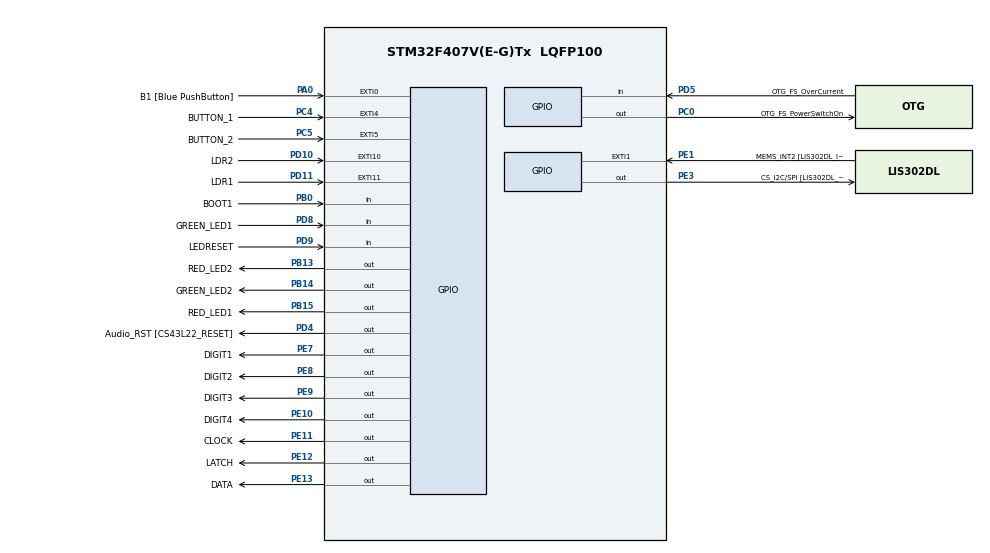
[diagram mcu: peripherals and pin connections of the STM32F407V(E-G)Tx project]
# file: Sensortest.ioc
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Mcu.Family=STM32F4
Mcu.Name=STM32F407V(E-G)Tx
Mcu.Package=LQFP100
NVIC.EXTI0_IRQn=true\:0\:0\:false\:false\:true\:true\:true\:true
NVIC.EXTI15_10_IRQn=true\:0\:0\:false\:false\:true\:true\:true\:true
NVIC.EXTI4_IRQn=true\:0\:0\:false\:false\:true\:true\:true\:true
NVIC.EXTI9_5_IRQn=true\:0\:0\:false\:false\:true\:true\:true\:true
NVIC.PriorityGroup=NVIC_PRIORITYGROUP_0
NVIC.TIM1_CC_IRQn=true\:0\:0\:false\:false\:true\:true\:true\:true
NVIC.TIM1_UP_TIM10_IRQn=true\:0\:0\:false\:false\:true\:true\:true\:true
NVIC.TIM2_IRQn=true\:0\:0\:false\:false\:true\:true\:true\:true
PA0-WKUP.GPIO_Label=B1 [Blue PushButton]
PA0-WKUP.GPIO_ModeDefaultEXTI=GPIO_MODE_IT_RISING
PA0-WKUP.GPIO_PuPd=GPIO_NOPULL
PA0-WKUP.Signal=GPXTI0
PA10.GPIO_Label=OTG_FS_ID
PA10.GPIO_Mode=GPIO_MODE_AF_PP
PA10.GPIO_PuPd=GPIO_NOPULL
PA10.GPIO_Speed=GPIO_SPEED_FREQ_LOW
PA10.Signal=USB_OTG_FS_ID
PA11.GPIO_Label=OTG_FS_DM
PA11.GPIO_Mode=GPIO_MODE_AF_PP
PA11.GPIO_PuPd=GPIO_NOPULL
PA11.GPIO_Speed=GPIO_SPEED_FREQ_LOW
PA11.Signal=USB_OTG_FS_DM
PA12.GPIO_Label=OTG_FS_DP
PA12.GPIO_Mode=GPIO_MODE_AF_PP
PA12.GPIO_PuPd=GPIO_NOPULL
PA12.GPIO_Speed=GPIO_SPEED_FREQ_LOW
PA12.Signal=USB_OTG_FS_DP
PA13.GPIO_Label=SWDIO
PA13.Mode=Serial_Wire
PA13.Signal=SYS_JTMS-SWDIO
PA14.GPIO_Label=SWCLK
PA14.Mode=Serial_Wire
PA14.Signal=SYS_JTCK-SWCLK
PA4.GPIO_Label=I2S3_WS [CS43L22_LRCK]
PA4.GPIO_Mode=GPIO_MODE_AF_PP
PA4.GPIO_PuPd=GPIO_NOPULL
PA4.GPIO_Speed=GPIO_SPEED_FREQ_LOW
PA4.Signal=I2S3_WS
PA5.GPIO_Label=SPI1_SCK [LIS302DL_SCL/SPC]
PA5.GPIO_Mode=GPIO_MODE_AF_PP
PA5.GPIO_PuPd=GPIO_NOPULL
PA5.GPIO_Speed=GPIO_SPEED_FREQ_LOW
PA5.Signal=SPI1_SCK
PA6.GPIO_Label=SPI1_MISO [LIS302DL_SDO]
PA6.GPIO_Mode=GPIO_MODE_AF_PP
PA6.GPIO_PuPd=GPIO_NOPULL
PA6.GPIO_Speed=GPIO_SPEED_FREQ_LOW
PA6.Signal=SPI1_MISO
PA7.GPIO_Label=SPI1_MOSI [LIS302DL_SDA/SDI/SDO]
PA7.GPIO_Mode=GPIO_MODE_AF_PP
PA7.GPIO_PuPd=GPIO_NOPULL
PA7.GPIO_Speed=GPIO_SPEED_FREQ_LOW
PA7.Signal=SPI1_MOSI
PA9.GPIO_Label=VBUS_FS
PA9.GPIO_Mode=GPIO_MODE_INPUT
PA9.GPIO_PuPd=GPIO_NOPULL
PA9.Signal=USB_OTG_FS_VBUS
PB0.GPIO_Label=BOOT1
PB0.Signal=GPIO_Input
PB10.GPIO_Label=CLK_IN [MP45DT02_CLK]
PB10.GPIO_Mode=GPIO_MODE_AF_PP
PB10.GPIO_PuPd=GPIO_NOPULL
PB10.GPIO_Speed=GPIO_SPEED_FREQ_LOW
PB10.Signal=I2S2_CK
PB13.GPIO_Label=RED_LED2
PB13.Signal=GPIO_Output
PB14.GPIO_Label=GREEN_LED2
PB14.Signal=GPIO_Output
PB15.GPIO_Label=RED_LED1
PB15.Signal=GPIO_Output
PB3.GPIO_Label=SWO
PB3.Signal=SYS_JTDO-SWO
PB6.GPIO_Label=Audio_SCL [CS43L22_SCL]
PB6.GPIO_Mode=GPIO_MODE_AF_OD
PB6.GPIO_Pu=GPIO_PULLUP
PB6.GPIO_PuPd=GPIO_NOPULL
PB6.GPIO_Speed=GPIO_SPEED_FREQ_LOW
PB6.Signal=I2C1_SCL
PB9.GPIO_Label=Audio_SDA [CS43L22_SDA]
PB9.GPIO_Mode=GPIO_MODE_AF_OD
PB9.GPIO_Pu=GPIO_PULLUP
PB9.GPIO_PuPd=GPIO_NOPULL
PB9.GPIO_Speed=GPIO_SPEED_FREQ_LOW
PB9.Signal=I2C1_SDA
PC0.GPIO_Label=OTG_FS_PowerSwitchOn
PC0.GPIO_PuPd=GPIO_NOPULL
PC0.GPIO_Speed=GPIO_SPEED_FREQ_LOW
PC0.PinState=GPIO_PIN_SET
PC0.Signal=GPIO_Output
PC10.GPIO_Label=I2S3_SCK [CS43L22_SCLK]
PC10.GPIO_Mode=GPIO_MODE_AF_PP
PC10.GPIO_PuPd=GPIO_NOPULL
PC10.GPIO_Speed=GPIO_SPEED_FREQ_LOW
PC10.Signal=I2S3_CK
PC12.GPIO_Label=I2S3_SD [CS43L22_SDIN]
PC12.GPIO_Mode=GPIO_MODE_AF_PP
PC12.GPIO_PuPd=GPIO_NOPULL
PC12.GPIO_Speed=GPIO_SPEED_FREQ_LOW
PC12.Signal=I2S3_SD
PC14-OSC32_IN.GPIO_Label=PC14-OSC32_IN
PC14-OSC32_IN.Mode=LSE-External-Oscillator
PC14-OSC32_IN.Signal=RCC_OSC32_IN
PC15-OSC32_OUT.GPIO_Label=PC15-OSC32_OUT
PC15-OSC32_OUT.Mode=LSE-External-Oscillator
PC15-OSC32_OUT.Signal=RCC_OSC32_OUT
PC3.GPIO_Label=PDM_OUT [MP45DT02_DOUT]
PC3.GPIO_Mode=GPIO_MODE_AF_PP
PC3.GPIO_PuPd=GPIO_NOPULL
PC3.GPIO_Speed=GPIO_SPEED_FREQ_LOW
PC3.Signal=I2S2_SD
PC4.GPIO_Label=BUTTON_1
PC4.Signal=GPXTI4
PC5.GPIO_Label=BUTTON_2
PC5.Signal=GPXTI5
PC7.GPIO_Label=I2S3_MCK [CS43L22_MCLK]
PC7.GPIO_Mode=GPIO_MODE_AF_PP
PC7.GPIO_PuPd=GPIO_NOPULL
PC7.GPIO_Speed=GPIO_SPEED_FREQ_LOW
PC7.Signal=I2S3_MCK
PD10.GPIO_Label=LDR2
PD10.Signal=GPXTI10
PD11.GPIO_Label=LDR1
PD11.Signal=GPXTI11
PD4.GPIO_Label=Audio_RST [CS43L22_RESET]
PD4.GPIO_PuPd=GPIO_NOPULL
PD4.GPIO_Speed=GPIO_SPEED_FREQ_LOW
PD4.Signal=GPIO_Output
PD5.GPIO_Label=OTG_FS_OverCurrent
PD5.GPIO_Mode=GPIO_MODE_INPUT
PD5.GPIO_PuPd=GPIO_NOPULL
PD5.Signal=GPIO_Input
PD8.GPIO_Label=GREEN_LED1
PD8.Signal=GPIO_Input
PD9.GPIO_Label=LEDRESET
PD9.Signal=GPIO_Input
PE1.GPIO_Label=MEMS_INT2 [LIS302DL_INT2]
PE1.GPIO_ModeDefaultEXTI=GPIO_MODE_EVT_RISING
PE1.GPIO_PuPd=GPIO_NOPULL
PE1.Signal=GPXTI1
PE10.GPIO_Label=DIGIT4
PE10.Signal=GPIO_Output
PE11.GPIO_Label=CLOCK
PE11.Signal=GPIO_Output
PE12.GPIO_Label=LATCH
PE12.Signal=GPIO_Output
PE13.GPIO_Label=DATA
PE13.Signal=GPIO_Output
PE3.GPIO_Label=CS_I2C/SPI [LIS302DL_CS_I2C/SPI]
PE3.GPIO_PuPd=GPIO_NOPULL
PE3.GPIO_Speed=GPIO_SPEED_FREQ_LOW
PE3.Signal=GPIO_Output
PE7.GPIO_Label=DIGIT1
PE7.Signal=GPIO_Output
PE8.GPIO_Label=DIGIT2
PE8.Signal=GPIO_Output
PE9.GPIO_Label=DIGIT3
PE9.Signal=GPIO_Output
PH0-OSC_IN.GPIO_Label=PH0-OSC_IN
PH0-OSC_IN.Mode=HSE-External-Oscillator
PH0-OSC_IN.Signal=RCC_OSC_IN
PH1-OSC_OUT.GPIO_Label=PH1-OSC_OUT
PH1-OSC_OUT.Mode=HSE-External-Oscillator
PH1-OSC_OUT.Signal=RCC_OSC_OUT
ProjectManager.HeapSize=0x200
ProjectManager.StackSize=0x400
ProjectManager.TargetToolchain=STM32CubeIDE
RCC.48MHZClocksFreq_Value=48000000
RCC.AHBFreq_Value=168000000
RCC.APB1CLKDivider=RCC_HCLK_DIV4
RCC.APB1Freq_Value=42000000
RCC.APB1TimFreq_Value=84000000
RCC.APB2CLKDivider=RCC_HCLK_DIV2
RCC.APB2Freq_Value=84000000
RCC.APB2TimFreq_Value=168000000
RCC.CortexFreq_Value=168000000
RCC.HCLKFreq_Value=168000000
RCC.HSE_VALUE=8000000
RCC.HSI_VALUE=16000000
RCC.PLLM=8
RCC.PLLN=336
RCC.PLLQ=7
RCC.PLLSourceVirtual=RCC_PLLSOURCE_HSE
RCC.SYSCLKFreq_VALUE=168000000
RCC.SYSCLKSource=RCC_SYSCLKSOURCE_PLLCLK
RCC.VCOOutputFreq_Value=336000000
TIM2.Period=20000
TIM2.Prescaler=4200
VP_TIM1_VS_ClockSourceINT.Mode=Internal
VP_TIM2_VS_ClockSourceINT.Mode=Internal
board=STM32F407G-DISC1

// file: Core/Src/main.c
/* USER CODE BEGIN Header */
/**
 ******************************************************************************
 * @file           : main.c
 * @brief          : Main program body
 ******************************************************************************
 * @attention
 *
 * Copyright (c) 2023 STMicroelectronics.
 * All rights reserved.
 *
 * This software is licensed under terms that can be found in the LICENSE file
 * in the root directory of this software component.
 * If no LICENSE file comes with this software, it is provided AS-IS.
 *
 ******************************************************************************
 */
/* USER CODE END Header */
#include "main.h"

/* USER CODE BEGIN Includes */
#include "stm32f4xx_hal.h"
/* USER CODE END Includes */

TIM_HandleTypeDef htim1;
TIM_HandleTypeDef htim2;

/* USER CODE BEGIN PV */
uint8_t gTable[] = { 0x3F, 0x06, 0x5B, 0x4F, 0x66, 0x6D, 0x7D, 0x07, 0x7F, 0x6F,
		0x77, 0x7C, 0x39, 0x5E, 0x79, 0x71, 0x00 };

volatile uint8_t gstartTime = 0;
volatile uint8_t Time = 0;
uint32_t gSpeed = 0;

volatile uint8_t gLDR1_ISR_Flag = 0;
volatile uint8_t gLDR2_ISR_Flag = 0;

uint8_t startFlag = 0;
double gDist = 1.5;

volatile uint8_t gbutton1_ISR_Flag = 0;
volatile uint8_t gbutton2_ISR_Flag = 0;

volatile uint8_t gCurrentDigit = 1;

uint16_t gReloadTimer1 = 62500;
uint8_t gReloadTimer2 = 10;

/* USER CODE END PV */

void SystemClock_Config(void);
static void MX_GPIO_Init(void);
static void MX_TIM2_Init(void);
static void MX_TIM1_Init(void);

/* USER CODE BEGIN 0 */
void startCheck(void);
void display(uint8_t num, uint8_t dp);
void dispOff(void);
void shiftOut(uint8_t dataPin, uint8_t clockPin, uint8_t bitOrder,
		uint8_t value);
/* USER CODE END 0 */

int main(void) {

	/* MCU Configuration--------------------------------------------------------*/

	/* Reset of all peripherals, Initializes the Flash interface and the Systick. */
	HAL_Init();

	/* Configure the system clock */
	SystemClock_Config();

	/* Initialize all configured peripherals */
	MX_GPIO_Init();
	MX_TIM2_Init();
	MX_TIM1_Init();
	/* USER CODE BEGIN 2 */
	HAL_TIM_Base_Start_IT(&htim1);
	HAL_TIM_Base_Start_IT(&htim2);
	/* USER CODE END 2 */

	/* Infinite loop */
	/* USER CODE BEGIN WHILE */
	while (1) {
		startCheck();
		if (gbutton1_ISR_Flag == 1) {
			gbutton1_ISR_Flag = 0;
		}

		if (gbutton2_ISR_Flag == 1) {
			gbutton2_ISR_Flag = 0;
		}

		if (gLDR2_ISR_Flag == 1) {
			gLDR2_ISR_Flag = 0;
		}
	}

	//	      if (startFlag == 0)
	//	      {
	//	        startCheck();
	//	      }
}

/* USER CODE END WHILE */

void SystemClock_Config(void) {
RCC_OscInitTypeDef RCC_OscInitStruct = { 0 };
RCC_ClkInitTypeDef RCC_ClkInitStruct = { 0 };

/** Configure the main internal regulator output voltage
 */
__HAL_RCC_PWR_CLK_ENABLE();
__HAL_PWR_VOLTAGESCALING_CONFIG(PWR_REGULATOR_VOLTAGE_SCALE1);

/** Initializes the RCC Oscillators according to the specified parameters
 * in the RCC_OscInitTypeDef structure.
 */
RCC_OscInitStruct.OscillatorType = RCC_OSCILLATORTYPE_HSE;
RCC_OscInitStruct.HSEState = RCC_HSE_ON;
RCC_OscInitStruct.PLL.PLLState = RCC_PLL_ON;
RCC_OscInitStruct.PLL.PLLSource = RCC_PLLSOURCE_HSE;
RCC_OscInitStruct.PLL.PLLM = 8;
RCC_OscInitStruct.PLL.PLLN = 336;
RCC_OscInitStruct.PLL.PLLP = RCC_PLLP_DIV2;
RCC_OscInitStruct.PLL.PLLQ = 7;
if (HAL_RCC_OscConfig(&RCC_OscInitStruct) != HAL_OK) {
	Error_Handler();
}

/** Initializes the CPU, AHB and APB buses clocks
 */
RCC_ClkInitStruct.ClockType = RCC_CLOCKTYPE_HCLK | RCC_CLOCKTYPE_SYSCLK
		| RCC_CLOCKTYPE_PCLK1 | RCC_CLOCKTYPE_PCLK2;
RCC_ClkInitStruct.SYSCLKSource = RCC_SYSCLKSOURCE_PLLCLK;
RCC_ClkInitStruct.AHBCLKDivider = RCC_SYSCLK_DIV1;
RCC_ClkInitStruct.APB1CLKDivider = RCC_HCLK_DIV4;
RCC_ClkInitStruct.APB2CLKDivider = RCC_HCLK_DIV2;

if (HAL_RCC_ClockConfig(&RCC_ClkInitStruct, FLASH_LATENCY_5) != HAL_OK) {
	Error_Handler();
}
}

static void MX_TIM1_Init(void) {

TIM_ClockConfigTypeDef sClockSourceConfig = { 0 };
TIM_MasterConfigTypeDef sMasterConfig = { 0 };

htim1.Instance = TIM1;
htim1.Init.Prescaler = 0;
htim1.Init.CounterMode = TIM_COUNTERMODE_UP;
htim1.Init.Period = 65535;
htim1.Init.ClockDivision = TIM_CLOCKDIVISION_DIV1;
htim1.Init.RepetitionCounter = 0;
htim1.Init.AutoReloadPreload = TIM_AUTORELOAD_PRELOAD_DISABLE;
if (HAL_TIM_Base_Init(&htim1) != HAL_OK) {
	Error_Handler();
}
sClockSourceConfig.ClockSource = TIM_CLOCKSOURCE_INTERNAL;
if (HAL_TIM_ConfigClockSource(&htim1, &sClockSourceConfig) != HAL_OK) {
	Error_Handler();
}
sMasterConfig.MasterOutputTrigger = TIM_TRGO_RESET;
sMasterConfig.MasterSlaveMode = TIM_MASTERSLAVEMODE_DISABLE;
if (HAL_TIMEx_MasterConfigSynchronization(&htim1, &sMasterConfig) != HAL_OK) {
	Error_Handler();
}

}

static void MX_TIM2_Init(void) {

TIM_ClockConfigTypeDef sClockSourceConfig = { 0 };
TIM_MasterConfigTypeDef sMasterConfig = { 0 };

htim2.Instance = TIM2;
htim2.Init.Prescaler = 4200;
htim2.Init.CounterMode = TIM_COUNTERMODE_UP;
htim2.Init.Period = 20000;
htim2.Init.ClockDivision = TIM_CLOCKDIVISION_DIV1;
htim2.Init.AutoReloadPreload = TIM_AUTORELOAD_PRELOAD_DISABLE;
if (HAL_TIM_Base_Init(&htim2) != HAL_OK) {
	Error_Handler();
}
sClockSourceConfig.ClockSource = TIM_CLOCKSOURCE_INTERNAL;
if (HAL_TIM_ConfigClockSource(&htim2, &sClockSourceConfig) != HAL_OK) {
	Error_Handler();
}
sMasterConfig.MasterOutputTrigger = TIM_TRGO_RESET;
sMasterConfig.MasterSlaveMode = TIM_MASTERSLAVEMODE_DISABLE;
if (HAL_TIMEx_MasterConfigSynchronization(&htim2, &sMasterConfig) != HAL_OK) {
	Error_Handler();
}

}

static void MX_GPIO_Init(void) {
GPIO_InitTypeDef GPIO_InitStruct = { 0 };

/* GPIO Ports Clock Enable */
__HAL_RCC_GPIOE_CLK_ENABLE();
__HAL_RCC_GPIOC_CLK_ENABLE();
__HAL_RCC_GPIOH_CLK_ENABLE();
__HAL_RCC_GPIOA_CLK_ENABLE();
__HAL_RCC_GPIOB_CLK_ENABLE();
__HAL_RCC_GPIOD_CLK_ENABLE();

/*Configure GPIO pin Output Level */
HAL_GPIO_WritePin(GPIOE,
		CS_I2C_SPI_Pin | DIGIT1_Pin | DIGIT2_Pin | DIGIT3_Pin | DIGIT4_Pin
				| CLOCK_Pin | LATCH_Pin | DATA_Pin, GPIO_PIN_RESET);

/*Configure GPIO pin Output Level */
HAL_GPIO_WritePin(OTG_FS_PowerSwitchOn_GPIO_Port, OTG_FS_PowerSwitchOn_Pin,
		GPIO_PIN_SET);

/*Configure GPIO pin Output Level */
HAL_GPIO_WritePin(GPIOB, RED_LED2_Pin | GREEN_LED2_Pin | RED_LED1_Pin,
		GPIO_PIN_RESET);

/*Configure GPIO pin Output Level */
HAL_GPIO_WritePin(Audio_RST_GPIO_Port, Audio_RST_Pin, GPIO_PIN_RESET);

/*Configure GPIO pins : CS_I2C_SPI_Pin DIGIT1_Pin DIGIT2_Pin DIGIT3_Pin
 DIGIT4_Pin CLOCK_Pin LATCH_Pin DATA_Pin */
GPIO_InitStruct.Pin = CS_I2C_SPI_Pin | DIGIT1_Pin | DIGIT2_Pin | DIGIT3_Pin
		| DIGIT4_Pin | CLOCK_Pin | LATCH_Pin | DATA_Pin;
GPIO_InitStruct.Mode = GPIO_MODE_OUTPUT_PP;
GPIO_InitStruct.Pull = GPIO_NOPULL;
GPIO_InitStruct.Speed = GPIO_SPEED_FREQ_LOW;
HAL_GPIO_Init(GPIOE, &GPIO_InitStruct);

/*Configure GPIO pin : OTG_FS_PowerSwitchOn_Pin */
GPIO_InitStruct.Pin = OTG_FS_PowerSwitchOn_Pin;
GPIO_InitStruct.Mode = GPIO_MODE_OUTPUT_PP;
GPIO_InitStruct.Pull = GPIO_NOPULL;
GPIO_InitStruct.Speed = GPIO_SPEED_FREQ_LOW;
HAL_GPIO_Init(OTG_FS_PowerSwitchOn_GPIO_Port, &GPIO_InitStruct);

/*Configure GPIO pin : PDM_OUT_Pin */
GPIO_InitStruct.Pin = PDM_OUT_Pin;
GPIO_InitStruct.Mode = GPIO_MODE_AF_PP;
GPIO_InitStruct.Pull = GPIO_NOPULL;
GPIO_InitStruct.Speed = GPIO_SPEED_FREQ_LOW;
GPIO_InitStruct.Alternate = GPIO_AF5_SPI2;
HAL_GPIO_Init(PDM_OUT_GPIO_Port, &GPIO_InitStruct);

/*Configure GPIO pin : B1_Pin */
GPIO_InitStruct.Pin = B1_Pin;
GPIO_InitStruct.Mode = GPIO_MODE_IT_RISING;
GPIO_InitStruct.Pull = GPIO_NOPULL;
HAL_GPIO_Init(B1_GPIO_Port, &GPIO_InitStruct);

/*Configure GPIO pin : I2S3_WS_Pin */
GPIO_InitStruct.Pin = I2S3_WS_Pin;
GPIO_InitStruct.Mode = GPIO_MODE_AF_PP;
GPIO_InitStruct.Pull = GPIO_NOPULL;
GPIO_InitStruct.Speed = GPIO_SPEED_FREQ_LOW;
GPIO_InitStruct.Alternate = GPIO_AF6_SPI3;
HAL_GPIO_Init(I2S3_WS_GPIO_Port, &GPIO_InitStruct);

/*Configure GPIO pins : SPI1_SCK_Pin SPI1_MISO_Pin SPI1_MOSI_Pin */
GPIO_InitStruct.Pin = SPI1_SCK_Pin | SPI1_MISO_Pin | SPI1_MOSI_Pin;
GPIO_InitStruct.Mode = GPIO_MODE_AF_PP;
GPIO_InitStruct.Pull = GPIO_NOPULL;
GPIO_InitStruct.Speed = GPIO_SPEED_FREQ_LOW;
GPIO_InitStruct.Alternate = GPIO_AF5_SPI1;
HAL_GPIO_Init(GPIOA, &GPIO_InitStruct);

/*Configure GPIO pins : BUTTON_1_Pin BUTTON_2_Pin */
GPIO_InitStruct.Pin = BUTTON_1_Pin | BUTTON_2_Pin;
GPIO_InitStruct.Mode = GPIO_MODE_IT_RISING;
GPIO_InitStruct.Pull = GPIO_PULLDOWN;
HAL_GPIO_Init(GPIOC, &GPIO_InitStruct);

/*Configure GPIO pin : BOOT1_Pin */
GPIO_InitStruct.Pin = BOOT1_Pin;
GPIO_InitStruct.Mode = GPIO_MODE_INPUT;
GPIO_InitStruct.Pull = GPIO_NOPULL;
HAL_GPIO_Init(BOOT1_GPIO_Port, &GPIO_InitStruct);

/*Configure GPIO pin : CLK_IN_Pin */
GPIO_InitStruct.Pin = CLK_IN_Pin;
GPIO_InitStruct.Mode = GPIO_MODE_AF_PP;
GPIO_InitStruct.Pull = GPIO_NOPULL;
GPIO_InitStruct.Speed = GPIO_SPEED_FREQ_LOW;
GPIO_InitStruct.Alternate = GPIO_AF5_SPI2;
HAL_GPIO_Init(CLK_IN_GPIO_Port, &GPIO_InitStruct);

/*Configure GPIO pins : RED_LED2_Pin GREEN_LED2_Pin RED_LED1_Pin */
GPIO_InitStruct.Pin = RED_LED2_Pin | GREEN_LED2_Pin | RED_LED1_Pin;
GPIO_InitStruct.Mode = GPIO_MODE_OUTPUT_PP;
GPIO_InitStruct.Pull = GPIO_NOPULL;
GPIO_InitStruct.Speed = GPIO_SPEED_FREQ_LOW;
HAL_GPIO_Init(GPIOB, &GPIO_InitStruct);

/*Configure GPIO pins : GREEN_LED1_Pin LEDRESET_Pin OTG_FS_OverCurrent_Pin */
GPIO_InitStruct.Pin = GREEN_LED1_Pin | LEDRESET_Pin | OTG_FS_OverCurrent_Pin;
GPIO_InitStruct.Mode = GPIO_MODE_INPUT;
GPIO_InitStruct.Pull = GPIO_NOPULL;
HAL_GPIO_Init(GPIOD, &GPIO_InitStruct);

/*Configure GPIO pins : LDR2_Pin LDR1_Pin */
GPIO_InitStruct.Pin = LDR2_Pin | LDR1_Pin;
GPIO_InitStruct.Mode = GPIO_MODE_IT_FALLING;
GPIO_InitStruct.Pull = GPIO_NOPULL;
HAL_GPIO_Init(GPIOD, &GPIO_InitStruct);

/*Configure GPIO pins : I2S3_MCK_Pin I2S3_SCK_Pin I2S3_SD_Pin */
GPIO_InitStruct.Pin = I2S3_MCK_Pin | I2S3_SCK_Pin | I2S3_SD_Pin;
GPIO_InitStruct.Mode = GPIO_MODE_AF_PP;
GPIO_InitStruct.Pull = GPIO_NOPULL;
GPIO_InitStruct.Speed = GPIO_SPEED_FREQ_LOW;
GPIO_InitStruct.Alternate = GPIO_AF6_SPI3;
HAL_GPIO_Init(GPIOC, &GPIO_InitStruct);

/*Configure GPIO pin : VBUS_FS_Pin */
GPIO_InitStruct.Pin = VBUS_FS_Pin;
GPIO_InitStruct.Mode = GPIO_MODE_INPUT;
GPIO_InitStruct.Pull = GPIO_NOPULL;
HAL_GPIO_Init(VBUS_FS_GPIO_Port, &GPIO_InitStruct);

/*Configure GPIO pins : OTG_FS_ID_Pin OTG_FS_DM_Pin OTG_FS_DP_Pin */
GPIO_InitStruct.Pin = OTG_FS_ID_Pin | OTG_FS_DM_Pin | OTG_FS_DP_Pin;
GPIO_InitStruct.Mode = GPIO_MODE_AF_PP;
GPIO_InitStruct.Pull = GPIO_NOPULL;
GPIO_InitStruct.Speed = GPIO_SPEED_FREQ_LOW;
GPIO_InitStruct.Alternate = GPIO_AF10_OTG_FS;
HAL_GPIO_Init(GPIOA, &GPIO_InitStruct);

/*Configure GPIO pin : Audio_RST_Pin */
GPIO_InitStruct.Pin = Audio_RST_Pin;
GPIO_InitStruct.Mode = GPIO_MODE_OUTPUT_PP;
GPIO_InitStruct.Pull = GPIO_NOPULL;
GPIO_InitStruct.Speed = GPIO_SPEED_FREQ_LOW;
HAL_GPIO_Init(Audio_RST_GPIO_Port, &GPIO_InitStruct);

/*Configure GPIO pins : Audio_SCL_Pin Audio_SDA_Pin */
GPIO_InitStruct.Pin = Audio_SCL_Pin | Audio_SDA_Pin;
GPIO_InitStruct.Mode = GPIO_MODE_AF_OD;
GPIO_InitStruct.Pull = GPIO_PULLUP;
GPIO_InitStruct.Speed = GPIO_SPEED_FREQ_LOW;
GPIO_InitStruct.Alternate = GPIO_AF4_I2C1;
HAL_GPIO_Init(GPIOB, &GPIO_InitStruct);

/*Configure GPIO pin : MEMS_INT2_Pin */
GPIO_InitStruct.Pin = MEMS_INT2_Pin;
GPIO_InitStruct.Mode = GPIO_MODE_EVT_RISING;
GPIO_InitStruct.Pull = GPIO_NOPULL;
HAL_GPIO_Init(MEMS_INT2_GPIO_Port, &GPIO_InitStruct);

/* EXTI interrupt init*/
HAL_NVIC_SetPriority(EXTI0_IRQn, 0, 0);
HAL_NVIC_EnableIRQ(EXTI0_IRQn);

HAL_NVIC_SetPriority(EXTI4_IRQn, 0, 0);
HAL_NVIC_EnableIRQ(EXTI4_IRQn);

HAL_NVIC_SetPriority(EXTI9_5_IRQn, 0, 0);
HAL_NVIC_EnableIRQ(EXTI9_5_IRQn);

HAL_NVIC_SetPriority(EXTI15_10_IRQn, 0, 0);
HAL_NVIC_EnableIRQ(EXTI15_10_IRQn);

}

/* USER CODE BEGIN 4 */
void startCheck(void) {

if (HAL_GPIO_ReadPin(LDR1_GPIO_Port, LDR1_Pin) == GPIO_PIN_RESET) {
	HAL_GPIO_WritePin(GREEN_LED1_GPIO_Port, GREEN_LED1_Pin, GPIO_PIN_SET);
} else {
	HAL_GPIO_WritePin(GREEN_LED1_GPIO_Port, GREEN_LED1_Pin, GPIO_PIN_SET);
}

if (HAL_GPIO_ReadPin(LDR2_GPIO_Port, LDR2_Pin) == GPIO_PIN_RESET) {
	HAL_GPIO_WritePin(GREEN_LED2_GPIO_Port, GREEN_LED2_Pin, GPIO_PIN_SET);
} else {
	HAL_GPIO_WritePin(GREEN_LED2_GPIO_Port, GREEN_LED2_Pin, GPIO_PIN_RESET);
}
}

void shiftOut(uint8_t dataPin, uint8_t clockPin, uint8_t bitOrder, uint8_t val) {
uint8_t i;

for (i = 0; i < 8; i++) {
	if (bitOrder == 0)
		HAL_GPIO_WritePin(DATA_GPIO_Port, DATA_Pin, !!(val & (1 << i)));
	else
		HAL_GPIO_WritePin(DATA_GPIO_Port, DATA_Pin, !!(val & (1 << (7 - i))));

	HAL_GPIO_WritePin(CLOCK_GPIO_Port, CLOCK_Pin, GPIO_PIN_SET);
	HAL_GPIO_WritePin(CLOCK_GPIO_Port, CLOCK_Pin, GPIO_PIN_RESET);
}
}

void display(uint8_t num, uint8_t dp) {
HAL_GPIO_WritePin(LATCH_GPIO_Port, LATCH_Pin, GPIO_PIN_RESET);
shiftOut(DATA_Pin, CLOCK_Pin, 1, gTable[num] | (dp << 7));
HAL_GPIO_WritePin(LATCH_GPIO_Port, LATCH_Pin, GPIO_PIN_SET);
}

void dispOff(void) {
HAL_GPIO_WritePin(DIGIT1_GPIO_Port, DIGIT1_Pin, GPIO_PIN_SET);
HAL_GPIO_WritePin(DIGIT2_GPIO_Port, DIGIT2_Pin, GPIO_PIN_SET);
HAL_GPIO_WritePin(DIGIT3_GPIO_Port, DIGIT3_Pin, GPIO_PIN_SET);
HAL_GPIO_WritePin(DIGIT4_GPIO_Port, DIGIT4_Pin, GPIO_PIN_SET);
}

void HAL_GPIO_EXTI_Callback(uint16_t GPIO_Pin) {

if (GPIO_Pin == LDR1_Pin) {
	if(gLDR1_ISR_Flag == 0){
	gLDR1_ISR_Flag = 1;
	gstartTime = HAL_GetTick();
	}

} else if (GPIO_Pin == LDR2_Pin) {
	gLDR2_ISR_Flag = 1;

	if (gLDR1_ISR_Flag == 1) {
		Time = HAL_GetTick() - gstartTime;
		gSpeed = (uint32_t) ((gDist * 0.000157828) / (Time * 0.00000027778));
		gLDR1_ISR_Flag = 0;
	}

} else if (GPIO_Pin == BUTTON_1_Pin) {
	Time = 0;
	gstartTime = 0;
	gSpeed = 0;
}
}

void HAL_TIM_PeriodElapsedCallback(TIM_HandleTypeDef *htim) {

if (htim == &htim1) {
	dispOff();

	switch (gCurrentDigit) {
	case 1:
		display(((gSpeed / 1000) % 10), 0);
		HAL_GPIO_WritePin(DIGIT1_GPIO_Port, DIGIT1_Pin, GPIO_PIN_RESET);

		break;

	case 2:
		display(((gSpeed / 100) % 10), 0);
		HAL_GPIO_WritePin(DIGIT2_GPIO_Port, DIGIT2_Pin, GPIO_PIN_RESET);

		break;

	case 3:
		display(((gSpeed / 10) % 10), 1);
		HAL_GPIO_WritePin(DIGIT3_GPIO_Port, DIGIT3_Pin, GPIO_PIN_RESET);
		break;

	case 4:
		display(((gSpeed) % 10), 0);
		HAL_GPIO_WritePin(DIGIT4_GPIO_Port, DIGIT4_Pin, GPIO_PIN_RESET);
		break;
	}
	gCurrentDigit = (gCurrentDigit % 4) + 1;
}
}

/* USER CODE END 4 */

void Error_Handler(void) {
__disable_irq();
while (1) {
}
}
